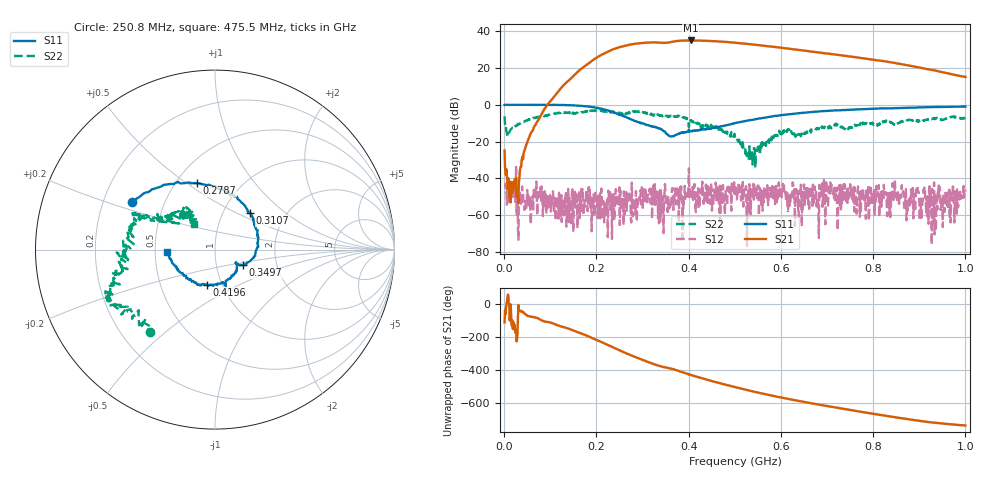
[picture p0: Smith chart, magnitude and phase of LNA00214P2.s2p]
! Created with skrf 1.9.0 (http://scikit-rf.org).
# Hz S RI R 50.0
!freq ReS11 ImS11 ReS21 ImS21 ReS12 ImS12 ReS22 ImS22
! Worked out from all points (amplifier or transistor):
!   1001 points, 1 MHz to 1 GHz, reference 50 ohm
!   highest |S21| = 35.0 dB at 404.6 MHz (marker M1)
!   |S21| within 3 dB of that: 260.1 MHz to 568.9 MHz (308.7 MHz wide, 74.5 % of centre)
!   unconditionally stable (mu >= 1): start of sweep to 99.69 MHz; 276.9 MHz to 400 MHz; 400.9 MHz to end of sweep (the widest 3 of 17)
!   at 166.8 MHz: K = 3.94, MAG = 30.1 dB, |S12| = -58.6 dB
!   at 500.5 MHz: K = 1.60, MAG = 34.5 dB, |S12| = -44.3 dB
!   at 1 GHz: K = 2.78, MAG = 23.4 dB, |S12| = -46.3 dB
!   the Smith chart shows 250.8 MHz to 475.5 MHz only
!   S11 on the Smith chart (normalised r, x): 250.8 MHz: 0.32, +0.24; 278.7 MHz: 0.64, +0.55; 310.7 MHz: 1.33, +0.59; 349.7 MHz: 1.35, -0.24; 419.6 MHz: 0.85, -0.35; 475.5 MHz: 0.58, -0.02
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1000000  0.9858 0.00574  -0.0189 -0.0538  -0.00607 0.00037  0.3266 0.3603
1.07893e8  0.5141 -0.8501  -0.7355 -1.441  0.000106 0.00111  0.4295 -0.375
1.67833e8  -0.257 -0.8912  -9.614 -0.4891  -0.00588 0.000734  0.0206 -0.6269
2.12788e8  -0.7043 -0.3085  -14.64 18.1  -0.000336 0.000683  -0.2176 -0.6416
2.31769e8  -0.6567 0.0122  -7.547 29.34  -0.00207 0.00114  -0.2925 -0.5462
2.5075e8  -0.4626 0.2659  6.04 36.34  -0.000532 -6.13e-05  -0.3597 -0.458
2.78722e8  -0.0989 0.369  30.3 32.3  0.000104 -0.000916  -0.582 -0.3111
3.1069e8  0.1931 0.2041  47.6 9.743  3.89e-07 0.00223  -0.5658 -0.1878
3.34666e8  0.2259 -0.00962  48.02 -10.01  0.00223 -0.00147  -0.5323 -0.0499
3.49651e8  0.1563 -0.0863  44.51 -18.54  -0.00346 0.00242  -0.4527 0.0306
3.74626e8  0.1223 -0.094  40.72 -35.18  -0.00126 0.00259  -0.4395 0.1587
4.04596e8  0.0337 -0.1879  20.84 -51.9  0.000306 0.00433  -0.3132 0.1755
4.19581e8  -0.0441 -0.1953  9.105 -54.79  0.00218 0.00074  -0.2689 0.1802
4.45555e8  -0.1735 -0.1445  -10.61 -53  0.00442 0.00468  -0.1801 0.2056
4.75525e8  -0.2672 -0.0141  -29.03 -42.6  0.00181 0.00136  -0.1164 0.1415
5.005e8  -0.2915 0.1252  -38.57 -29.95  0.00281 0.00539  -0.0694 0.1079
5.4046e8  -0.2083 0.3319  -42.48 -8.358  0.00329 -0.00624  -0.00529 0.0313
5.88412e8  0.000977 0.4944  -35.08 11.85  0.00116 -0.00278  -0.1163 -0.0842
6.67333e8  0.3875 0.5026  -13.42 24.09  -0.00101 -0.00431  -0.2123 -0.0416
7.53247e8  0.6749 0.2874  4.281 19.7  -0.00274 -0.00496  -0.2475 -0.029
8.34166e8  0.7988 0.0201  10.94 9.523  -0.00301 -0.00265  -0.3462 -0.0416
1e9  0.7226 -0.5241  5.498 -1.446  -0.00484 -0.000168  -0.3637 0.2439
